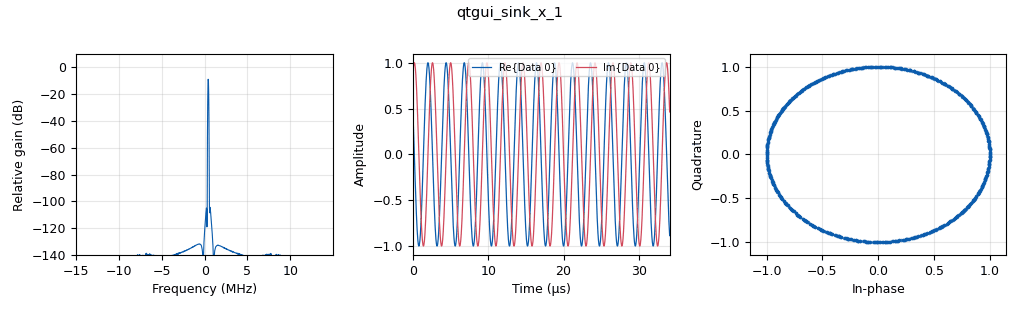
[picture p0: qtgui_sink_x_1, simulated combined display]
<?xml version='1.0' encoding='utf-8'?>
<?grc format='1' created='3.7.11'?>
<flow_graph>
<block>
<key>options</key>
<param><key>id</key><value>Doppler_Effect</value></param>
<param><key>author</key><value>ALS</value></param>
<param><key>generate_options</key><value>qt_gui</value></param>
<param><key>title</key><value>Doppler Effect</value></param>
</block>
<block>
<key>variable</key>
<param><key>id</key><value>samp_rate</value></param>
<param><key>value</key><value>30000000</value></param>
</block>
<block>
<key>akademika_sink</key>
<param><key>id</key><value>akademika_sink_0</value></param>
<param><key>attenuation</key><value>10.0</value></param>
<param><key>buffer_size</key><value>0x8000</value></param>
<param><key>cyclic</key><value>False</value></param>
<param><key>auto_filter</key><value>True</value></param>
<param><key>filter</key><value></value></param>
<param><key>uri</key><value>ip:akademika.local</value></param>
<param><key>frequency</key><value>400000000</value></param>
<param><key>bandwidth</key><value>20000000</value></param>
<param><key>samplerate</key><value>2084000</value></param>
</block>
<block>
<key>akademika_source</key>
<param><key>id</key><value>akademika_source_0</value></param>
<param><key>bbdc</key><value>True</value></param>
<param><key>buffer_size</key><value>0x8000</value></param>
<param><key>uri</key><value>ip:akademika.local</value></param>
<param><key>auto_filter</key><value>True</value></param>
<param><key>filter</key><value></value></param>
<param><key>gain</key><value>"manual"</value></param>
<param><key>frequency</key><value>400000000</value></param>
<param><key>manual_gain</key><value>64.0</value></param>
<param><key>quadrature</key><value>True</value></param>
<param><key>rfdc</key><value>True</value></param>
<param><key>bandwidth</key><value>20000000</value></param>
<param><key>samplerate</key><value>2084000</value></param>
</block>
<block>
<key>analog_sig_source_x</key>
<param><key>id</key><value>analog_sig_source_x_0</value></param>
<param><key>amp</key><value>1</value></param>
<param><key>freq</key><value>100</value></param>
<param><key>offset</key><value>0.01</value></param>
<param><key>type</key><value>float</value></param>
<param><key>samp_rate</key><value>samp_rate</value></param>
<param><key>waveform</key><value>analog.GR_SAW_WAVE</value></param>
</block>
<block>
<key>blocks_multiply_conjugate_cc</key>
<param><key>id</key><value>blocks_multiply_conjugate_cc_0</value></param>
</block>
<block>
<key>blocks_vco_c</key>
<param><key>id</key><value>blocks_vco_c_0</value></param>
<param><key>amplitude</key><value>1</value></param>
<param><key>samp_rate</key><value>samp_rate</value></param>
<param><key>sensitivity</key><value>15000000</value></param>
</block>
<block>
<key>qtgui_sink_x</key>
<param><key>id</key><value>qtgui_sink_x_0</value></param>
<param><key>bw</key><value>samp_rate</value></param>
<param><key>fc</key><value>0</value></param>
<param><key>freqchangevar</key><value>None</value></param>
<param><key>fftsize</key><value>1024</value></param>
<param><key>showports</key><value>True</value></param>
<param><key>type</key><value>complex</value></param>
<param><key>wintype</key><value>firdes.WIN_BLACKMAN_hARRIS</value></param>
</block>
<block>
<key>qtgui_sink_x</key>
<param><key>id</key><value>qtgui_sink_x_1</value></param>
<param><key>bw</key><value>samp_rate</value></param>
<param><key>fc</key><value>0</value></param>
<param><key>freqchangevar</key><value>None</value></param>
<param><key>fftsize</key><value>1024</value></param>
<param><key>showports</key><value>True</value></param>
<param><key>type</key><value>complex</value></param>
<param><key>wintype</key><value>firdes.WIN_BLACKMAN_hARRIS</value></param>
</block>
<connection><source_block_id>akademika_source_0</source_block_id><sink_block_id>blocks_multiply_conjugate_cc_0</sink_block_id><source_key>0</source_key><sink_key>1</sink_key></connection>
<connection><source_block_id>analog_sig_source_x_0</source_block_id><sink_block_id>blocks_vco_c_0</sink_block_id><source_key>0</source_key><sink_key>0</sink_key></connection>
<connection><source_block_id>blocks_multiply_conjugate_cc_0</source_block_id><sink_block_id>qtgui_sink_x_0</sink_block_id><source_key>0</source_key><sink_key>0</sink_key></connection>
<connection><source_block_id>blocks_vco_c_0</source_block_id><sink_block_id>akademika_sink_0</sink_block_id><source_key>0</source_key><sink_key>0</sink_key></connection>
<connection><source_block_id>blocks_vco_c_0</source_block_id><sink_block_id>blocks_multiply_conjugate_cc_0</sink_block_id><source_key>0</source_key><sink_key>0</sink_key></connection>
<connection><source_block_id>blocks_vco_c_0</source_block_id><sink_block_id>qtgui_sink_x_1</sink_block_id><source_key>0</source_key><sink_key>0</sink_key></connection>
</flow_graph>
